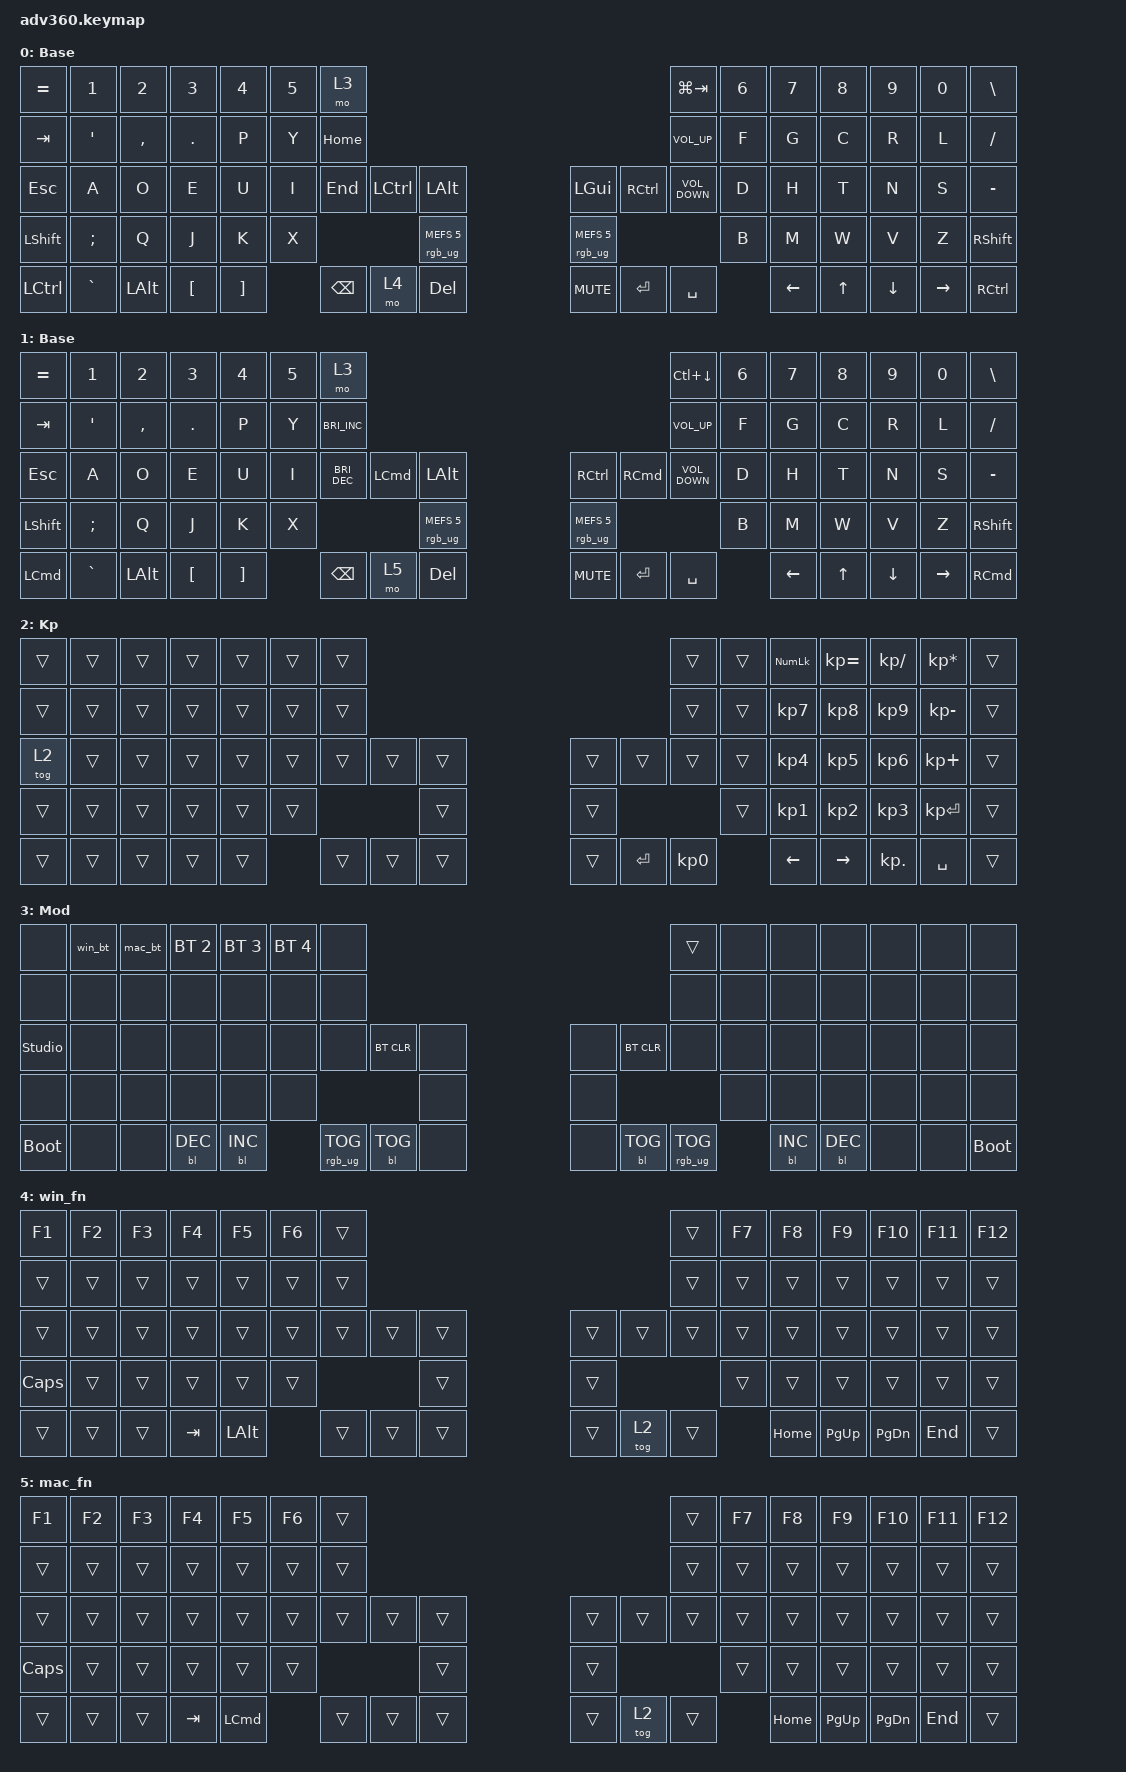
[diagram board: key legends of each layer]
#include <dt-bindings/zmk/stp.h>
#include <behaviors.dtsi>
#include <dt-bindings/zmk/backlight.h>
#include <dt-bindings/zmk/bt.h>
#include <dt-bindings/zmk/keys.h>
#include <dt-bindings/zmk/rgb.h>

/ {
    behaviors {
        #include "macros.dtsi"
      #include "version.dtsi"

        hm: homerow_mods {
            compatible = "zmk,behavior-hold-tap";
            label = "HOMEROW_MODS";
            #binding-cells = <2>;
            tapping-term-ms = <200>;
            quick_tap_ms = <175>;
            flavor = "tap-preferred";
            bindings = <&kp>, <&kp>;
        };
    };

    macros {
        win_bt: win_bt {
            compatible = "zmk,behavior-macro";
            #binding-cells = <0>;
            bindings = <&bt BT_SEL 0 &to 0>;
            label = "WIN_BT";
        };

        mac_bt: mac_bt {
            compatible = "zmk,behavior-macro";
            #binding-cells = <0>;
            bindings = <&bt BT_SEL 1 &to 1>;
            label = "MAC_BT";
        };
    };

    keymap {
        compatible = "zmk,keymap";

        default_layer {
            display-name = "Base";
            bindings = <
&kp EQUAL  &kp N1            &kp N2        &kp N3            &kp N4             &kp N5  &mo 3                                                                               &kp LG(TAB)        &kp N6  &kp N7    &kp N8  &kp N9    &kp N0     &kp BACKSLASH
&kp TAB    &kp SINGLE_QUOTE  &kp COMMA     &kp DOT           &kp P              &kp Y   &kp HOME                                                                            &kp C_VOLUME_UP    &kp F   &kp G     &kp C   &kp R     &kp L      &kp SLASH
&kp ESC    &kp A             &kp O         &kp E             &kp U              &kp I   &kp END   &kp LCTRL  &kp LALT                    &kp LGUI                &kp RCTRL  &kp C_VOLUME_DOWN  &kp D   &kp H     &kp T   &kp N     &kp S      &kp MINUS
&kp LSHFT  &kp SEMICOLON     &kp Q         &kp J             &kp K              &kp X                        &rgb_ug RGB_MEFS_CMD 5      &rgb_ug RGB_MEFS_CMD 5                                &kp B   &kp M     &kp W   &kp V     &kp Z      &kp RSHFT
&kp LCTRL  &kp GRAVE         &kp LEFT_ALT  &kp LEFT_BRACKET  &kp RIGHT_BRACKET          &kp BSPC  &mo 4      &kp DEL                     &kp C_MUTE              &kp ENTER  &kp SPACE                  &kp LEFT  &kp UP  &kp DOWN  &kp RIGHT  &kp RCTRL
            >;
        };

        mac {
            display-name = "Base";
            bindings = <
&kp EQUAL  &kp N1            &kp N2        &kp N3            &kp N4             &kp N5  &mo 3                                                                              &kp LC(DOWN)       &kp N6  &kp N7    &kp N8  &kp N9    &kp N0     &kp BACKSLASH
&kp TAB    &kp SINGLE_QUOTE  &kp COMMA     &kp DOT           &kp P              &kp Y   &kp C_BRIGHTNESS_INC                                                               &kp C_VOLUME_UP    &kp F   &kp G     &kp C   &kp R     &kp L      &kp SLASH
&kp ESC    &kp A             &kp O         &kp E             &kp U              &kp I   &kp C_BRIGHTNESS_DEC  &kp LCMD  &kp LALT                    &kp RCTRL   &kp RCMD   &kp C_VOLUME_DOWN  &kp D   &kp H     &kp T   &kp N     &kp S      &kp MINUS
&kp LSHFT  &kp SEMICOLON     &kp Q         &kp J             &kp K              &kp X                                   &rgb_ug RGB_MEFS_CMD 5      &rgb_ug RGB_MEFS_CMD 5                    &kp B   &kp M     &kp W   &kp V     &kp Z      &kp RSHFT
&kp LCMD   &kp GRAVE         &kp LEFT_ALT  &kp LEFT_BRACKET  &kp RIGHT_BRACKET          &kp BSPC              &mo 5     &kp DEL                     &kp C_MUTE  &kp ENTER  &kp SPACE                  &kp LEFT  &kp UP  &kp DOWN  &kp RIGHT  &kp RCMD
            >;
        };

        keypad {
            display-name = "Kp";
            bindings = <
&trans  &trans  &trans  &trans  &trans  &trans  &trans                                         &trans     &trans  &kp KP_NUM  &kp KP_EQUAL  &kp KP_DIVIDE  &kp KP_MULTIPLY  &trans
&trans  &trans  &trans  &trans  &trans  &trans  &trans                                         &trans     &trans  &kp KP_N7   &kp KP_N8     &kp KP_N9      &kp KP_MINUS     &trans
&tog 2  &trans  &trans  &trans  &trans  &trans  &trans  &trans  &trans      &trans  &trans     &trans     &trans  &kp KP_N4   &kp KP_N5     &kp KP_N6      &kp KP_PLUS      &trans
&trans  &trans  &trans  &trans  &trans  &trans                  &trans      &trans                        &trans  &kp KP_N1   &kp KP_N2     &kp KP_N3      &kp KP_ENTER     &trans
&trans  &trans  &trans  &trans  &trans          &trans  &trans  &trans      &trans  &kp ENTER  &kp KP_N0          &kp LEFT    &kp RIGHT     &kp KP_DOT     &kp SPACE        &trans
            >;
        };

        mod {
            display-name = "Mod";
            bindings = <
&none           &win_bt  &mac_bt  &bt BT_SEL 2  &bt BT_SEL 3  &bt BT_SEL 4  &none                                                      &trans           &none  &none       &none       &none  &none  &none
&none           &none    &none    &none         &none         &none         &none                                                      &none            &none  &none       &none       &none  &none  &none
&studio_unlock  &none    &none    &none         &none         &none         &none            &bt BT_CLR  &none      &none  &bt BT_CLR  &none            &none  &none       &none       &none  &none  &none
&none           &none    &none    &none         &none         &none                                      &none      &none                               &none  &none       &none       &none  &none  &none
&bootloader     &none    &none    &bl BL_DEC    &bl BL_INC                  &rgb_ug RGB_TOG  &bl BL_TOG  &none      &none  &bl BL_TOG  &rgb_ug RGB_TOG         &bl BL_INC  &bl BL_DEC  &none  &none  &bootloader
            >;
        };

        win_fn {
            display-name = "win_fn";
            bindings = <
&kp F1        &kp F2  &kp F3  &kp F4   &kp F5    &kp F6  &trans                                      &trans  &kp F7  &kp F8    &kp F9       &kp F10        &kp F11  &kp F12
&trans        &trans  &trans  &trans   &trans    &trans  &trans                                      &trans  &trans  &trans    &trans       &trans         &trans   &trans
&trans        &trans  &trans  &trans   &trans    &trans  &trans  &trans  &trans      &trans  &trans  &trans  &trans  &trans    &trans       &trans         &trans   &trans
&kp CAPSLOCK  &trans  &trans  &trans   &trans    &trans                  &trans      &trans                  &trans  &trans    &trans       &trans         &trans   &trans
&trans        &trans  &trans  &kp TAB  &kp LALT          &trans  &trans  &trans      &trans  &tog 2  &trans          &kp HOME  &kp PAGE_UP  &kp PAGE_DOWN  &kp END  &trans
            >;
        };

        mac_fn {
            display-name = "mac_fn";
            bindings = <
&kp F1        &kp F2  &kp F3  &kp F4   &kp F5    &kp F6  &trans                                      &trans  &kp F7  &kp F8    &kp F9       &kp F10        &kp F11  &kp F12
&trans        &trans  &trans  &trans   &trans    &trans  &trans                                      &trans  &trans  &trans    &trans       &trans         &trans   &trans
&trans        &trans  &trans  &trans   &trans    &trans  &trans  &trans  &trans      &trans  &trans  &trans  &trans  &trans    &trans       &trans         &trans   &trans
&kp CAPSLOCK  &trans  &trans  &trans   &trans    &trans                  &trans      &trans                  &trans  &trans    &trans       &trans         &trans   &trans
&trans        &trans  &trans  &kp TAB  &kp LCMD          &trans  &trans  &trans      &trans  &tog 2  &trans          &kp HOME  &kp PAGE_UP  &kp PAGE_DOWN  &kp END  &trans
            >;
        };
    };
};
